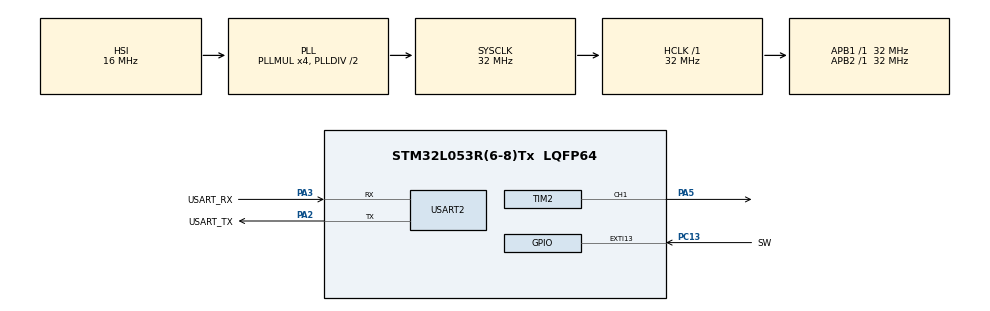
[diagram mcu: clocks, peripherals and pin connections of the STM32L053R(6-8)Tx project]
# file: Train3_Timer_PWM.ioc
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Dma.Request0=USART2_RX
Dma.USART2_RX.0.Direction=DMA_PERIPH_TO_MEMORY
Dma.USART2_RX.0.Instance=DMA1_Channel6
Dma.USART2_RX.0.MemDataAlignment=DMA_MDATAALIGN_BYTE
Dma.USART2_RX.0.MemInc=DMA_MINC_ENABLE
Dma.USART2_RX.0.Mode=DMA_CIRCULAR
Dma.USART2_RX.0.PeriphDataAlignment=DMA_PDATAALIGN_BYTE
Dma.USART2_RX.0.PeriphInc=DMA_PINC_DISABLE
Dma.USART2_RX.0.Priority=DMA_PRIORITY_LOW
Mcu.Family=STM32L0
Mcu.Name=STM32L053R(6-8)Tx
Mcu.Package=LQFP64
NVIC.DMA1_Channel4_5_6_7_IRQn=true\:0\:0\:false\:false\:true\:false\:true
NVIC.TIM21_IRQn=true\:0\:0\:false\:false\:true\:true\:true
NVIC.TIM2_IRQn=true\:0\:0\:false\:false\:true\:true\:true
PA13.GPIO_Label=TMS
PA13.Mode=Serial_Wire
PA13.Signal=SYS_SWDIO
PA14.GPIO_Label=TCK
PA14.Mode=Serial_Wire
PA14.Signal=SYS_SWCLK
PA2.GPIO_Label=USART_TX
PA2.Mode=Asynchronous
PA2.Signal=USART2_TX
PA3.GPIO_Label=USART_RX
PA3.Mode=Asynchronous
PA3.Signal=USART2_RX
PA5.Signal=S_TIM2_CH1
PC13.GPIO_Label=SW
PC13.GPIO_ModeDefaultEXTI=GPIO_MODE_IT_FALLING
PC13.Signal=GPXTI13
PC14-OSC32_IN.Mode=LSE-External-Oscillator
PC14-OSC32_IN.Signal=RCC_OSC32_IN
PC15-OSC32_OUT.Mode=LSE-External-Oscillator
PC15-OSC32_OUT.Signal=RCC_OSC32_OUT
PH0-OSC_IN.Mode=HSE-External-Clock-Source
PH0-OSC_IN.Signal=RCC_OSC_IN
PH1-OSC_OUT.Signal=RCC_OSC_OUT
ProjectManager.HeapSize=0x200
ProjectManager.StackSize=0x400
ProjectManager.TargetToolchain=STM32CubeIDE
RCC.AHBFreq_Value=32000000
RCC.APB1Freq_Value=32000000
RCC.APB1TimFreq_Value=32000000
RCC.APB2Freq_Value=32000000
RCC.APB2TimFreq_Value=32000000
RCC.HCLKFreq_Value=32000000
RCC.HSE_VALUE=8000000
RCC.HSI16_VALUE=16000000
RCC.HSI48_VALUE=48000000
RCC.HSI_VALUE=16000000
RCC.MSIClockRange=RCC_MSIRANGE_6
RCC.MSI_VALUE=4194000
RCC.PLLMUL=RCC_PLLMUL_4
RCC.SYSCLKFreq_VALUE=32000000
RCC.SYSCLKSource=RCC_SYSCLKSOURCE_PLLCLK
RCC.VCOOutputFreq_Value=64000000
SH.S_TIM2_CH1.0=TIM2_CH1,PWM Generation1 CH1
TIM2.AutoReloadPreload=TIM_AUTORELOAD_PRELOAD_ENABLE
TIM2.Channel-PWM\ Generation1\ CH1=TIM_CHANNEL_1
TIM2.Period=1000-1
TIM2.Prescaler=320-1
TIM2.Pulse-PWM\ Generation1\ CH1=1000
TIM21.AutoReloadPreload=TIM_AUTORELOAD_PRELOAD_ENABLE
TIM21.Period=250-1
TIM21.Prescaler=32000-1
USART2.Parity=PARITY_NONE
USART2.VirtualMode-Asynchronous=VM_ASYNC
VP_TIM21_VS_ClockSourceINT.Mode=Internal
VP_TIM2_VS_ClockSourceINT.Mode=Internal
board=NUCLEO-L053R8

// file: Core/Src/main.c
/* USER CODE BEGIN Header */
/*
 * Train3 Timer PWM
 * 目的：PWM制御の確認
 * 確認方法：LEDを2種類の明るさで点滅させる
 * 流れ：スイッチを押すと、50msで反転するPWMタイマがスタートする
 * 1秒ごとにデューティ比が100%と30%と切り替わる
 */
/*
 *
 ******************************************************************************
 * @file : main.c
 * @brief : Main program body
 ******************************************************************************
 * @attention
 *
 * <h2><center>&copy; Copyright (c) 2020 STMicroelectronics.
 * All rights reserved.</center></h2>
 *
 * This software component is licensed by ST under BSD 3-Clause license,
 * the "License"; You may not use this file except in compliance with the
 * License. You may obtain a copy of the License at:
 * opensource.org/licenses/BSD-3-Clause
 *
 ******************************************************************************
 */
/* USER CODE END Header */
#include "main.h"

/* USER CODE BEGIN Includes */
#include "LED.h"
#include <string.h>
#include <stdbool.h>

#include "UART.h"

/* USER CODE END Includes */

/* USER CODE BEGIN PD */

#define SW_ON 0
#define SW_OFF 1
#define MYDEBUG

/* USER CODE END PD */

TIM_HandleTypeDef htim2;
TIM_HandleTypeDef htim21;

UART_HandleTypeDef huart2;
DMA_HandleTypeDef hdma_usart2_rx;

void SystemClock_Config(void);
static void MX_GPIO_Init(void);
static void MX_DMA_Init(void);
static void MX_USART2_UART_Init(void);
static void MX_TIM2_Init(void);
static void MX_TIM21_Init(void);

int main(void)
{
  /* USER CODE BEGIN 1 */

#ifdef MYDEBUG
	uint8_t buffer[256] = "";
	uint8_t str_initmeseg[] = "Start My Program\r\n\r\n";
	uint8_t str_test[] = "test";
#endif

	bool SWState = SW_OFF;
	bool SWStateOld = SW_OFF;

	bool flg = false;

  /* USER CODE END 1 */

  /* MCU Configuration--------------------------------------------------------*/

  /* Reset of all peripherals, Initializes the Flash interface and the Systick. */
  HAL_Init();

  /* Configure the system clock */
  SystemClock_Config();

  /* Initialize all configured peripherals */
  MX_GPIO_Init();
  MX_DMA_Init();
  MX_USART2_UART_Init();
  MX_TIM2_Init();
  MX_TIM21_Init();
  /* USER CODE BEGIN 2 */

#ifdef MYDEBUG
	// デバッグ用
	HAL_UART_Transmit(&huart2, str_initmeseg, strlen(str_initmeseg), 0xffff);
	// UART_Reciev_DMA init
	msgrx_init(&huart2);
#endif

  /* USER CODE END 2 */

  /* Infinite loop */
	while (1) {

    /* USER CODE BEGIN 3 */

		// スイッチオン
		SWState = HAL_GPIO_ReadPin(SW_GPIO_Port, SW_Pin);

		// スイッチを押した時だけ
		if (SWStateOld == SW_OFF && SWState == SW_ON) {

			if (flg == false) {			// 1回目のみ実行
				// タイマ スタート
				HAL_TIM_PWM_Start_IT(&htim2, TIM_CHANNEL_1);	// PWMタイマ
				HAL_TIM_Base_Start_IT(&htim21);			// 1秒タイマ

#ifdef MYDEBUG
				// デバッグ用
				printUART("Start Timer : ", 0);
#endif
				flg = true;

			} else {								// 2回目以降実行
				// タイマ ストップ
				HAL_TIM_PWM_Stop_IT(&htim2, TIM_CHANNEL_1);
				HAL_TIM_Base_Stop_IT(&htim21);						// 1秒タイマ

#ifdef MYDEBUG
				// デバッグ用
				printUART("Stop Timer : ", 0);
#endif

				flg = false;

			}
		}

		// スイッチの過去状態を更新
		SWStateOld = SWState;

	}
  /* USER CODE END 3 */
}

void SystemClock_Config(void)
{
  RCC_OscInitTypeDef RCC_OscInitStruct = {0};
  RCC_ClkInitTypeDef RCC_ClkInitStruct = {0};
  RCC_PeriphCLKInitTypeDef PeriphClkInit = {0};

  /** Configure the main internal regulator output voltage
  */
  __HAL_PWR_VOLTAGESCALING_CONFIG(PWR_REGULATOR_VOLTAGE_SCALE1);
  /** Initializes the RCC Oscillators according to the specified parameters
  * in the RCC_OscInitTypeDef structure.
  */
  RCC_OscInitStruct.OscillatorType = RCC_OSCILLATORTYPE_HSI;
  RCC_OscInitStruct.HSIState = RCC_HSI_ON;
  RCC_OscInitStruct.HSICalibrationValue = RCC_HSICALIBRATION_DEFAULT;
  RCC_OscInitStruct.PLL.PLLState = RCC_PLL_ON;
  RCC_OscInitStruct.PLL.PLLSource = RCC_PLLSOURCE_HSI;
  RCC_OscInitStruct.PLL.PLLMUL = RCC_PLLMUL_4;
  RCC_OscInitStruct.PLL.PLLDIV = RCC_PLLDIV_2;
  if (HAL_RCC_OscConfig(&RCC_OscInitStruct) != HAL_OK)
  {
    Error_Handler();
  }
  /** Initializes the CPU, AHB and APB buses clocks
  */
  RCC_ClkInitStruct.ClockType = RCC_CLOCKTYPE_HCLK|RCC_CLOCKTYPE_SYSCLK
                              |RCC_CLOCKTYPE_PCLK1|RCC_CLOCKTYPE_PCLK2;
  RCC_ClkInitStruct.SYSCLKSource = RCC_SYSCLKSOURCE_PLLCLK;
  RCC_ClkInitStruct.AHBCLKDivider = RCC_SYSCLK_DIV1;
  RCC_ClkInitStruct.APB1CLKDivider = RCC_HCLK_DIV1;
  RCC_ClkInitStruct.APB2CLKDivider = RCC_HCLK_DIV1;

  if (HAL_RCC_ClockConfig(&RCC_ClkInitStruct, FLASH_LATENCY_1) != HAL_OK)
  {
    Error_Handler();
  }
  PeriphClkInit.PeriphClockSelection = RCC_PERIPHCLK_USART2;
  PeriphClkInit.Usart2ClockSelection = RCC_USART2CLKSOURCE_PCLK1;
  if (HAL_RCCEx_PeriphCLKConfig(&PeriphClkInit) != HAL_OK)
  {
    Error_Handler();
  }
}

static void MX_TIM2_Init(void)
{

  TIM_ClockConfigTypeDef sClockSourceConfig = {0};
  TIM_MasterConfigTypeDef sMasterConfig = {0};
  TIM_OC_InitTypeDef sConfigOC = {0};

  htim2.Instance = TIM2;
  htim2.Init.Prescaler = 320-1;
  htim2.Init.CounterMode = TIM_COUNTERMODE_UP;
  htim2.Init.Period = 1000-1;
  htim2.Init.ClockDivision = TIM_CLOCKDIVISION_DIV1;
  htim2.Init.AutoReloadPreload = TIM_AUTORELOAD_PRELOAD_ENABLE;
  if (HAL_TIM_Base_Init(&htim2) != HAL_OK)
  {
    Error_Handler();
  }
  sClockSourceConfig.ClockSource = TIM_CLOCKSOURCE_INTERNAL;
  if (HAL_TIM_ConfigClockSource(&htim2, &sClockSourceConfig) != HAL_OK)
  {
    Error_Handler();
  }
  if (HAL_TIM_PWM_Init(&htim2) != HAL_OK)
  {
    Error_Handler();
  }
  sMasterConfig.MasterOutputTrigger = TIM_TRGO_RESET;
  sMasterConfig.MasterSlaveMode = TIM_MASTERSLAVEMODE_DISABLE;
  if (HAL_TIMEx_MasterConfigSynchronization(&htim2, &sMasterConfig) != HAL_OK)
  {
    Error_Handler();
  }
  sConfigOC.OCMode = TIM_OCMODE_PWM1;
  sConfigOC.Pulse = 0;
  sConfigOC.OCPolarity = TIM_OCPOLARITY_HIGH;
  sConfigOC.OCFastMode = TIM_OCFAST_DISABLE;
  if (HAL_TIM_PWM_ConfigChannel(&htim2, &sConfigOC, TIM_CHANNEL_2) != HAL_OK)
  {
    Error_Handler();
  }
  HAL_TIM_MspPostInit(&htim2);

}

static void MX_TIM21_Init(void)
{

  TIM_ClockConfigTypeDef sClockSourceConfig = {0};
  TIM_MasterConfigTypeDef sMasterConfig = {0};

  htim21.Instance = TIM21;
  htim21.Init.Prescaler = 32000-1;
  htim21.Init.CounterMode = TIM_COUNTERMODE_UP;
  htim21.Init.Period = 250-1;
  htim21.Init.ClockDivision = TIM_CLOCKDIVISION_DIV1;
  htim21.Init.AutoReloadPreload = TIM_AUTORELOAD_PRELOAD_ENABLE;
  if (HAL_TIM_Base_Init(&htim21) != HAL_OK)
  {
    Error_Handler();
  }
  sClockSourceConfig.ClockSource = TIM_CLOCKSOURCE_INTERNAL;
  if (HAL_TIM_ConfigClockSource(&htim21, &sClockSourceConfig) != HAL_OK)
  {
    Error_Handler();
  }
  sMasterConfig.MasterOutputTrigger = TIM_TRGO_RESET;
  sMasterConfig.MasterSlaveMode = TIM_MASTERSLAVEMODE_DISABLE;
  if (HAL_TIMEx_MasterConfigSynchronization(&htim21, &sMasterConfig) != HAL_OK)
  {
    Error_Handler();
  }

}

static void MX_USART2_UART_Init(void)
{

  huart2.Instance = USART2;
  huart2.Init.BaudRate = 115200;
  huart2.Init.WordLength = UART_WORDLENGTH_8B;
  huart2.Init.StopBits = UART_STOPBITS_1;
  huart2.Init.Parity = UART_PARITY_NONE;
  huart2.Init.Mode = UART_MODE_TX_RX;
  huart2.Init.HwFlowCtl = UART_HWCONTROL_NONE;
  huart2.Init.OverSampling = UART_OVERSAMPLING_16;
  huart2.Init.OneBitSampling = UART_ONE_BIT_SAMPLE_DISABLE;
  huart2.AdvancedInit.AdvFeatureInit = UART_ADVFEATURE_NO_INIT;
  if (HAL_UART_Init(&huart2) != HAL_OK)
  {
    Error_Handler();
  }

}

static void MX_DMA_Init(void)
{

  /* DMA controller clock enable */
  __HAL_RCC_DMA1_CLK_ENABLE();

  /* DMA interrupt init */
  /* DMA1_Channel4_5_6_7_IRQn interrupt configuration */
  HAL_NVIC_SetPriority(DMA1_Channel4_5_6_7_IRQn, 0, 0);
  HAL_NVIC_EnableIRQ(DMA1_Channel4_5_6_7_IRQn);

}

static void MX_GPIO_Init(void)
{
  GPIO_InitTypeDef GPIO_InitStruct = {0};

  /* GPIO Ports Clock Enable */
  __HAL_RCC_GPIOC_CLK_ENABLE();
  __HAL_RCC_GPIOH_CLK_ENABLE();
  __HAL_RCC_GPIOA_CLK_ENABLE();
  __HAL_RCC_GPIOB_CLK_ENABLE();

  /*Configure GPIO pin : SW_Pin */
  GPIO_InitStruct.Pin = SW_Pin;
  GPIO_InitStruct.Mode = GPIO_MODE_IT_FALLING;
  GPIO_InitStruct.Pull = GPIO_NOPULL;
  HAL_GPIO_Init(SW_GPIO_Port, &GPIO_InitStruct);

}

/* USER CODE BEGIN 4 */

// タイマオーバーフロー 割込み コールバック
void HAL_TIM_PeriodElapsedCallback(TIM_HandleTypeDef *htim) {
	static uint8_t i = 0;

	// キャプチャーコンペアレジスタに設定する値
	static uint16_t l_duty = 0;
	static const uint16_t l_dutyList[] = { 0, 2, 5, 10, 25, 60, 5, 60, 5, 60, 5,
			60, 5, 60, 25, 10, 5, 2, 1, 0 };

	// 1秒タイマの処理
	if (htim == &htim21) {

#define WAY_TWO

#ifndef WAY_TWO
		// l_duty に デューティ比1割分のレジスタの値を増加させる
		l_duty += ((__HAL_TIM_GET_AUTORELOAD(&htim2) + 1) * 0.1);

		// AUTORELOADの値より上回った場合、1に戻す
		// ※変更時に1を引くため、0ではなく1
		if (l_duty - 1 > __HAL_TIM_GET_AUTORELOAD(&htim2)) {
			l_duty = 0;
			// PWMタイマのデューティを変更
			__HAL_TIM_SET_COMPARE(&htim2, TIM_CHANNEL_1, l_duty);
		} else {
			// PWMタイマのデューティを変更
			__HAL_TIM_SET_COMPARE(&htim2, TIM_CHANNEL_1, l_duty - 1);
		}

#endif

#ifdef WAY_TWO
		if (i < 20) {
			l_duty = (l_dutyList[i] * __HAL_TIM_GET_AUTORELOAD(&htim2)) / 100;
		} else {
			i = 0;
		}

		i++;

		// PWMタイマのデューティを変更
		__HAL_TIM_SET_COMPARE(&htim2, TIM_CHANNEL_1, l_duty);

#endif

#ifdef MYDEBUG
		// デバッグ用
		printUART("Timer :  tim21  overflow cnt : ",
				(uint16_t) htim->Instance->CNT);
		// デバッグ用
//		printUART("Timer :  tim21  autoreload : ", __HAL_TIM_GET_AUTORELOAD((&htim21)));

#endif
	}

}

// PWM 割込み コールバック
void HAL_TIM_PWM_PulseFinishedCallback(TIM_HandleTypeDef *htim) {

	// timer2
	if (htim == &htim2) {
		printUART("PWM timer2 :", (uint16_t) htim->Instance->CNT);
	}
}

/* USER CODE END 4 */

void Error_Handler(void)
{
}

/************************ (C) COPYRIGHT STMicroelectronics *****END OF FILE****/
